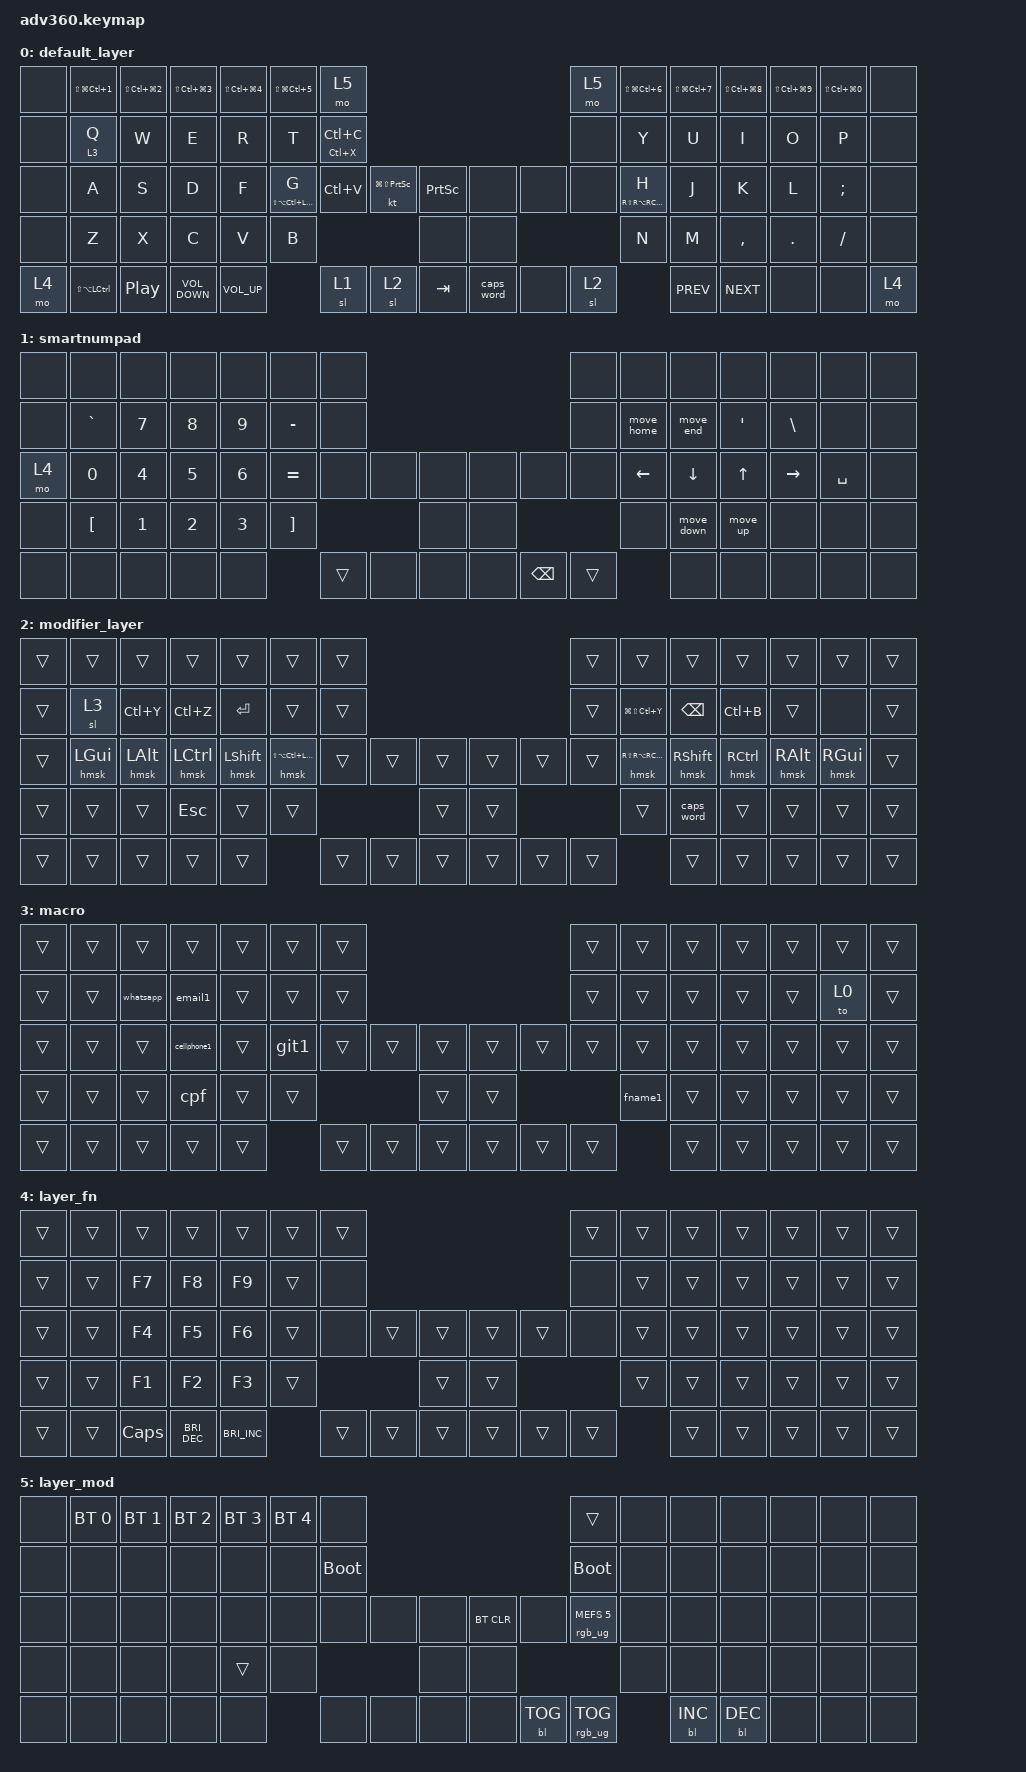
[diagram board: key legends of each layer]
/*
 * Copyright (c) 2020 The ZMK Contributors
 *
 * SPDX-License-Identifier: MIT
 */
/* THIS FILE WAS GENERATED!
 *
 * This file was generated automatically. You may or may not want to
 * edit it directly.
 */

#include <behaviors.dtsi>
#include <dt-bindings/zmk/backlight.h>
#include <dt-bindings/zmk/bt.h>
#include <dt-bindings/zmk/keys.h>
#include <dt-bindings/zmk/keys.h>
#include <dt-bindings/zmk/rgb.h>

/ {
    behaviors {
        #include "macros.dtsi"
    #include "version.dtsi"

        hm: homerow_mods {
            compatible = "zmk,behavior-hold-tap";
            label = "HOMEROW_MODS";
            #binding-cells = <2>;
            tapping-term-ms = <200>;
            quick_tap_ms = <175>;
            flavor = "tap-preferred";
            bindings = <&kp>, <&kp>;
        };

        hmsk: hmsk {
            compatible = "zmk,behavior-sticky-key";
            label = "homerow sticky";
            bindings = <&kp>;
            #binding-cells = <1>;
            release-after-ms = <2000>;
            quick-release;
            ignore-modifiers;
        };

        cpf: cpf {
            compatible = "zmk,behavior-tap-dance";
            label = "CPF";
            #binding-cells = <0>;
            bindings = <&cpf1>, <&cpf2>, <&cpf3>;

            tapping-term-ms = <300>;
        };

        move_down: move_down {
            compatible = "zmk,behavior-mod-morph";
            label = "MOVE_DOWN";
            bindings = <&kp LC(D)>, <&kp PAGE_DOWN>;

            #binding-cells = <0>;
            mods = <(MOD_LCTL|MOD_RCTL)>;
        };

        move_up: move_up {
            compatible = "zmk,behavior-mod-morph";
            label = "MOVE_UP";
            bindings = <&kp LC(U)>, <&kp PAGE_UP>;

            #binding-cells = <0>;
            mods = <(MOD_LCTL|MOD_RCTL)>;
        };

        move_home: move_home {
            compatible = "zmk,behavior-mod-morph";
            label = "MOVE_HOME";
            bindings = <&kp CARET>, <&kp HOME>;

            #binding-cells = <0>;
            mods = <(MOD_LCTL|MOD_RCTL)>;
        };

        move_end: move_end {
            compatible = "zmk,behavior-mod-morph";
            label = "MOVE_END";
            bindings = <&kp DOLLAR>, <&kp END>;

            #binding-cells = <0>;
            mods = <(MOD_LCTL|MOD_RCTL)>;
        };
    };

    combos {
        compatible = "zmk,combos";

        escape_left {
            bindings = <&kp ESCAPE>;
            key-positions = <31 33>;
            layers = <0 1>;
        };

        escape_right {
            bindings = <&kp ESCAPE>;
            key-positions = <40 42>;
            layers = <0 1>;
        };

        combo_tab_left {
            bindings = <&kp TAB>;
            key-positions = <17 18>;
            layers = <0 1>;
        };

        combo_tab_right {
            bindings = <&kp TAB>;
            key-positions = <23 24>;
            layers = <0 1>;
        };
    };

    macros {
        email1: email1 {
            compatible = "zmk,behavior-macro";
            #binding-cells = <0>;
            bindings = <&kp E &kp D &kp U &kp A &kp R &kp D &kp O &kp L &kp L &kp O &kp B &kp A &kp C &kp K &kp AT &kp G &kp M &kp A &kp I &kp L &kp DOT &kp C &kp O &kp M>;
            label = "EMAIL1";
            wait-ms = <10>;
            tap-ms = <10>;
        };

        cpf1: cpf1 {
            compatible = "zmk,behavior-macro";
            #binding-cells = <0>;
            bindings = <&kp N0 &kp N5 &kp N5 &kp N7 &kp N7 &kp N8 &kp N8 &kp N9 &kp N9 &kp N4 &kp N4>;
            label = "CPF1";
            tap-ms = <10>;
            wait-ms = <10>;
        };

        cpf2: cpf2 {
            compatible = "zmk,behavior-macro";
            #binding-cells = <0>;
            bindings = <&kp N5 &kp N5 &kp N2 &kp N6 &kp N1 &kp N8 &kp N7 &kp N6 &kp N1 &kp N6 &kp N8>;
            label = "CPF2";
            tap-ms = <10>;
            wait-ms = <10>;
        };

        cpf3: cpf3 {
            compatible = "zmk,behavior-macro";
            #binding-cells = <0>;
            bindings = <&kp N0 &kp N9 &kp N9 &kp N8 &kp N7 &kp N7 &kp N4 &kp N7 &kp N9 &kp N0 &kp N6>;
            label = "CPF3";
            wait-ms = <10>;
            tap-ms = <10>;
        };

        cellphone1: cellphone1 {
            compatible = "zmk,behavior-macro";
            #binding-cells = <0>;
            bindings = <&kp LPAR &kp N4 &kp N7 &kp RPAR &kp SPACE &kp N9 &kp N9 &kp N6 &kp N7 &kp N1 &kp MINUS &kp N7 &kp N5 &kp N4 &kp N5>;
            label = "CELLPHONE1";
            wait-ms = <10>;
            tap-ms = <10>;
        };

        git1: git1 {
            compatible = "zmk,behavior-macro";
            #binding-cells = <0>;
            bindings = <&kp F &kp E &kp A &kp T &kp U &kp R &kp E>;
            label = "GIT1";
            wait-ms = <10>;
            tap-ms = <10>;
        };

        whatsapp: whatsapp {
            compatible = "zmk,behavior-macro";
            #binding-cells = <0>;
            bindings = <&kp W &kp H &kp A &kp T &kp S &kp A &kp P &kp P>;
            label = "WHATSAPP";
            wait-ms = <10>;
            tap-ms = <10>;
        };

        fname1: name1 {
            compatible = "zmk,behavior-macro";
            #binding-cells = <0>;
            bindings = <&kp LS(E) &kp D &kp U &kp A &kp R &kp D &kp O &kp SPACE &kp LS(L) &kp O &kp B &kp A &kp C &kp K>;
            label = "NAME1";
            wait-ms = <10>;
            tap-ms = <10>;
        };
    };

    keymap {
        compatible = "zmk,keymap";

        default_layer {
            bindings = <
&none  &kp LS(LG(LC(NUMBER_1)))  &kp LS(LC(LG(N2)))  &kp LS(LC(LG(NUMBER_3)))  &kp LS(LC(LG(NUMBER_4)))  &kp LS(LG(LC(N5)))      &mo 5                                                                             &mo 5  &kp LS(LG(LC(N6)))      &kp LS(LG(LC(N7)))  &kp LS(LC(LG(N8)))  &kp LS(LC(LG(N9)))  &kp LS(LC(LG(N0)))  &none
&none  &lt 3 Q                   &kp W               &kp E                     &kp R                     &kp T                   &mt LC(X) LC(C)                                                                   &none  &kp Y                   &kp U               &kp I               &kp O               &kp P               &none
&none  &kp A                     &kp S               &kp D                     &kp F                     &hm LS(LA(LC(LGUI))) G  &kp LC(V)        &kt LG(LS(PRINTSCREEN))  &kp PRINTSCREEN      &none       &none  &none  &hm RS(RA(RC(RGUI))) H  &kp J               &kp K               &kp L               &kp SEMICOLON       &none
&none  &kp Z                     &kp X               &kp C                     &kp V                     &kp B                                                             &none                &none                     &kp N                   &kp M               &kp COMMA           &kp DOT             &kp FSLH            &none
&mo 4  &kp LS(LA(LCTRL))         &kp C_PP            &kp C_VOLUME_DOWN         &kp C_VOLUME_UP                                   &sl 1            &sl 2                    &kp TAB              &caps_word  &none  &sl 2                          &kp C_PREV          &kp C_NEXT          &none               &none               &mo 4
            >;
        };

        smartnumpad {
            bindings = <
&none  &none             &none   &none   &none   &none              &none                                           &none   &none       &none       &none     &none          &none      &none
&none  &kp GRAVE         &kp N7  &kp N8  &kp N9  &kp MINUS          &none                                           &none   &move_home  &move_end   &kp SQT   &kp BACKSLASH  &none      &none
&mo 4  &kp N0            &kp N4  &kp N5  &kp N6  &kp EQUAL          &none   &none  &none      &none  &none          &none   &kp LEFT    &kp DOWN    &kp UP    &kp RIGHT      &kp SPACE  &none
&none  &kp LEFT_BRACKET  &kp N1  &kp N2  &kp N3  &kp RIGHT_BRACKET                 &none      &none                         &none       &move_down  &move_up  &none          &none      &none
&none  &none             &none   &none   &none                      &trans  &none  &none      &none  &kp BACKSPACE  &trans              &none       &none     &none          &none      &none
            >;
        };

        modifier_layer {
            bindings = <
&trans  &trans      &trans      &trans       &trans        &trans                  &trans                                      &trans  &trans                  &trans         &trans       &trans           &trans      &trans
&trans  &sl 3       &kp LC(Y)   &kp LC(Z)    &kp RET       &trans                  &trans                                      &trans  &kp LG(LS(LC(Y)))       &kp BACKSPACE  &kp LC(B)    &trans           &none       &trans
&trans  &hmsk LGUI  &hmsk LALT  &hmsk LCTRL  &hmsk LSHIFT  &hmsk LS(LA(LC(LGUI)))  &trans  &trans  &trans      &trans  &trans  &trans  &hmsk RS(RA(RC(RGUI)))  &hmsk RSHIFT   &hmsk RCTRL  &hmsk RIGHT_ALT  &hmsk RGUI  &trans
&trans  &trans      &trans      &kp ESCAPE   &trans        &trans                                  &trans      &trans                  &trans                  &caps_word     &trans       &trans           &trans      &trans
&trans  &trans      &trans      &trans       &trans                                &trans  &trans  &trans      &trans  &trans  &trans                          &trans         &trans       &trans           &trans      &trans
            >;
        };

        macro {
            bindings = <
&trans  &trans  &trans     &trans       &trans  &trans  &trans                                      &trans  &trans   &trans  &trans  &trans  &trans  &trans
&trans  &trans  &whatsapp  &email1      &trans  &trans  &trans                                      &trans  &trans   &trans  &trans  &trans  &to 0   &trans
&trans  &trans  &trans     &cellphone1  &trans  &git1   &trans  &trans  &trans      &trans  &trans  &trans  &trans   &trans  &trans  &trans  &trans  &trans
&trans  &trans  &trans     &cpf         &trans  &trans                  &trans      &trans                  &fname1  &trans  &trans  &trans  &trans  &trans
&trans  &trans  &trans     &trans       &trans          &trans  &trans  &trans      &trans  &trans  &trans           &trans  &trans  &trans  &trans  &trans
            >;
        };

        layer_fn {
            bindings = <
&trans  &trans  &trans    &trans                &trans                &trans  &trans                                      &trans  &trans  &trans  &trans  &trans  &trans  &trans
&trans  &trans  &kp F7    &kp F8                &kp F9                &trans  &none                                       &none   &trans  &trans  &trans  &trans  &trans  &trans
&trans  &trans  &kp F4    &kp F5                &kp F6                &trans  &none   &trans  &trans      &trans  &trans  &none   &trans  &trans  &trans  &trans  &trans  &trans
&trans  &trans  &kp F1    &kp F2                &kp F3                &trans                  &trans      &trans                  &trans  &trans  &trans  &trans  &trans  &trans
&trans  &trans  &kp CAPS  &kp C_BRIGHTNESS_DEC  &kp C_BRIGHTNESS_INC          &trans  &trans  &trans      &trans  &trans  &trans          &trans  &trans  &trans  &trans  &trans
            >;
        };

        layer_mod {
            bindings = <
&none  &bt BT_SEL 0  &bt BT_SEL 1  &bt BT_SEL 2  &bt BT_SEL 3  &bt BT_SEL 4  &none                                                  &trans                  &none  &none       &none       &none  &none  &none
&none  &none         &none         &none         &none         &none         &bootloader                                            &bootloader             &none  &none       &none       &none  &none  &none
&none  &none         &none         &none         &none         &none         &none        &none  &none      &bt BT_CLR  &none       &rgb_ug RGB_MEFS_CMD 5  &none  &none       &none       &none  &none  &none
&none  &none         &none         &none         &trans        &none                             &none      &none                                           &none  &none       &none       &none  &none  &none
&none  &none         &none         &none         &none                       &none        &none  &none      &none       &bl BL_TOG  &rgb_ug RGB_TOG                &bl BL_INC  &bl BL_DEC  &none  &none  &none
            >;
        };
    };
};
